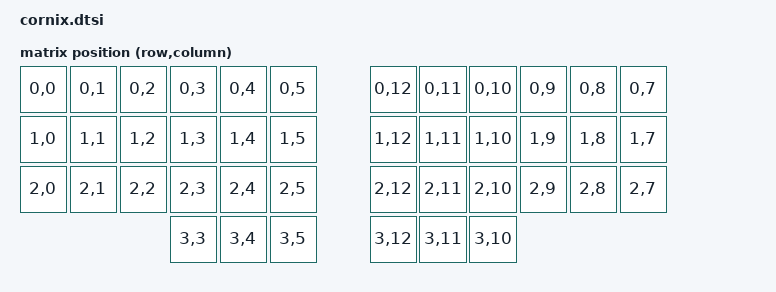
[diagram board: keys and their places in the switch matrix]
/*
 * Copyright (c) 2020 Pete Johanson
 *
 * SPDX-License-Identifier: MIT
 */

#include <dt-bindings/zmk/matrix_transform.h>
#include <dt-bindings/led/led.h>
#include "cornix-layouts.dtsi"

/ {
    chosen {
        zmk,kscan = &kscan0;
		zmk,physical-layout = &layout_0;
    };

    default_transform: keymap_transform_0 {
        compatible = "zmk,matrix-transform";
        columns = <14>;
        rows = <4>;
// | SW1  | SW2  | SW3  | SW4  | SW5  | SW6  |   | SW6  | SW5  | SW4  | SW3  | SW2  | SW1  |
// | SW7  | SW8  | SW9  | SW10 | SW11 | SW12 |   | SW12 | SW11 | SW10 | SW9  | SW8  | SW7  |
// | SW13 | SW14 | SW15 | SW16 | SW17 | SW18 |   | SW18 | SW17 | SW16 | SW15 | SW14 | SW13 |
//                      | SW19 | SW20 | SW21 |   | SW21 | SW20 | SW19 |
        map = <
RC(0,0) RC(0,1) RC(0,2) RC(0,3) RC(0,4) RC(0,5)  RC(0,12)  RC(0,11) RC(0,10) RC(0,9) RC(0,8) RC(0,7)
RC(1,0) RC(1,1) RC(1,2) RC(1,3) RC(1,4) RC(1,5)  RC(1,12)  RC(1,11) RC(1,10) RC(1,9) RC(1,8) RC(1,7)
RC(2,0) RC(2,1) RC(2,2) RC(2,3) RC(2,4) RC(2,5)  RC(2,12)  RC(2,11) RC(2,10) RC(2,9) RC(2,8) RC(2,7)
                        RC(3,3) RC(3,4) RC(3,5)  RC(3,12)  RC(3,11) RC(3,10)
        >;
    };

    kscan0: kscan {
        compatible = "zmk,kscan-gpio-matrix";
        diode-direction = "col2row";
        wakeup-source;
        
    };

    // Remove all display/OLED related configurations since cornix doesn't use display
    // Remove underglow/RGB configurations for now (can be added later if needed)
    leds {
        status = "disabled";
    };
    EXT_POWER {
        status = "disabled";
    };

};

&spi3 {
    compatible = "nordic,nrf-spim";
    status = "okay";

    pinctrl-0 = <&spi3_default>;
    pinctrl-1 = <&spi3_sleep>;
    pinctrl-names = "default", "sleep";


    led_strip: ws2812@0 {
        compatible = "worldsemi,ws2812-spi";
        label = "WS2812";

        /* SPI */
        reg = <0>; /* ignored, but necessary for SPI bindings */
        spi-max-frequency = <4000000>;

        /* WS2812 */
        chain-length = <2>; /* There are per-key RGB, but the first 6 are underglow */
        spi-one-frame = <0x70>;
        spi-zero-frame = <0x40>;
        color-mapping = <LED_COLOR_ID_GREEN LED_COLOR_ID_RED LED_COLOR_ID_BLUE>;
    };

};


/ {
    chosen {
		// zmk,underglow = &led_strip;
    };
};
